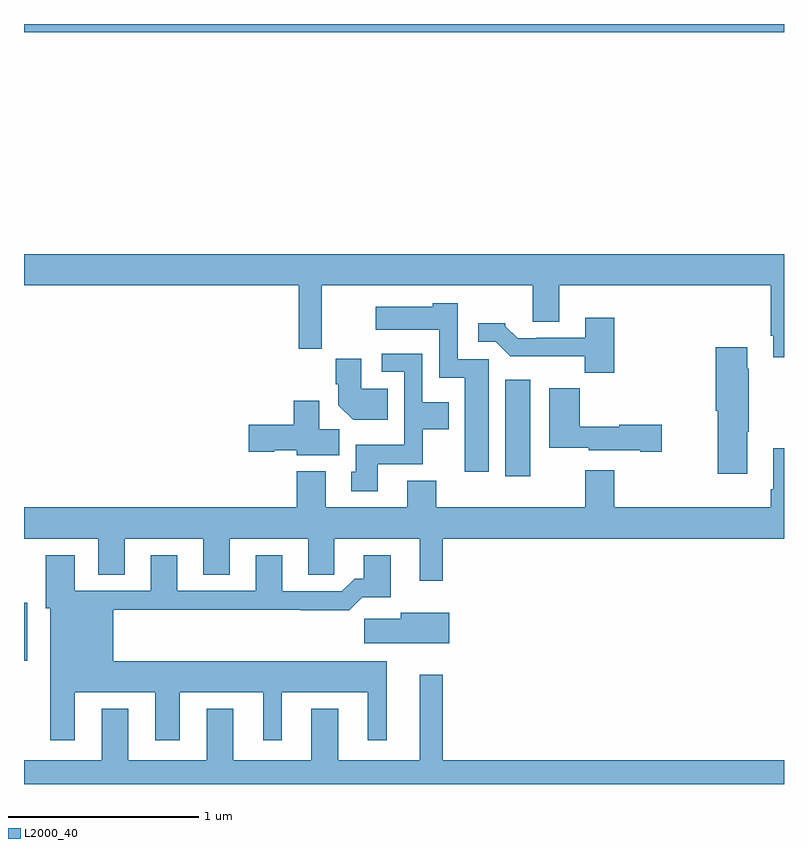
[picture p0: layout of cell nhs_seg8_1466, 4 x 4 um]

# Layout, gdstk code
import gdstk
lib = gdstk.Library(unit=1e-6, precision=1e-09)
def R(c, l, rs):  # rectangles x0, y0, x1, y1
    for r in rs: c.add(gdstk.rectangle(r[:2], r[2:], *l))
def P(c, l, *ps):  # polygons
    for p in ps: c.add(gdstk.Polygon(p, *l))
L2000_40 = (2000, 40)

nhs_seg8_1466 = lib.new_cell('nhs_seg8_1466')
R(nhs_seg8_1466, L2000_40, [(205,1090.55,205.018,1090.855), (207.533,1091.52,207.664,1092.028), (205,1093.856,209,1093.9)])
P(nhs_seg8_1466, L2000_40, [(209,1092.688),(205,1092.688),(205,1092.524),(206.446,1092.524),(206.446,1092.192),(206.567,1092.192),(206.567,1092.524),(207.677,1092.524),(207.677,1092.334),(207.817,1092.334),(207.817,1092.524),(208.931,1092.524),(208.931,1092.259),(208.943,1092.259),(208.943,1092.147),(209,1092.147)],
  [(207.445,1092.135),(207.282,1092.135),(207.282,1092.43),(207.15,1092.43),(207.15,1092.412),(206.85,1092.412),(206.85,1092.29),(207.186,1092.29),(207.186,1092.038),(207.32,1092.038),(207.32,1091.544),(207.445,1091.544)],
  [(208.106,1092.355),(207.953,1092.355),(207.953,1092.249),(207.697,1092.249),(207.697,1092.246),(207.598,1092.246),(207.534,1092.31),(207.534,1092.325),(207.39,1092.325),(207.39,1092.228),(207.483,1092.228),(207.559,1092.152),(207.951,1092.152),(207.951,1092.065),(208.106,1092.065)],
  [(208.807,1091.755),(208.815,1091.755),(208.815,1092.086),(208.807,1092.086),(208.807,1092.199),(208.64,1092.199),(208.64,1091.865),(208.652,1091.865),(208.652,1091.532),(208.807,1091.532)],
  [(206.863,1091.582),(207.099,1091.582),(207.099,1091.768),(207.235,1091.768),(207.235,1091.908),(207.096,1091.908),(207.096,1092.165),(206.883,1092.165),(206.883,1092.069),(207,1092.069),(207,1091.686),(206.747,1091.686),(206.747,1091.544),(206.723,1091.544),(206.723,1091.442),(206.863,1091.442)],
  [(206.915,1091.98),(206.776,1091.98),(206.776,1092.139),(206.642,1092.139),(206.642,1092.004),(206.654,1092.004),(206.654,1091.894),(206.732,1091.816),(206.915,1091.816)],
  [(208.357,1091.792),(208.134,1091.792),(208.134,1091.779),(207.926,1091.779),(207.926,1091.983),(207.764,1091.983),(207.764,1091.669),(207.972,1091.669),(207.972,1091.657),(208.244,1091.657),(208.244,1091.65),(208.357,1091.65)],
  [(206.659,1091.768),(206.554,1091.768),(206.554,1091.917),(206.42,1091.917),(206.42,1091.792),(206.184,1091.792),(206.184,1091.65),(206.316,1091.65),(206.316,1091.657),(206.436,1091.657),(206.436,1091.63),(206.659,1091.63)],
  [(207.205,1091.192),(209,1091.192),(209,1091.668),(208.943,1091.668),(208.943,1091.452),(208.931,1091.452),(208.931,1091.356),(208.106,1091.356),(208.106,1091.551),(207.953,1091.551),(207.953,1091.356),(207.17,1091.356),(207.17,1091.497),(207.017,1091.497),(207.017,1091.356),(206.587,1091.356),(206.587,1091.545),(206.435,1091.545),(206.435,1091.356),(205,1091.356),(205,1091.192),(205.391,1091.192),(205.391,1091.002),(205.531,1091.002),(205.531,1091.192),(205.943,1091.192),(205.943,1091.002),(206.083,1091.002),(206.083,1091.192),(206.495,1091.192),(206.495,1091.002),(206.634,1091.002),(206.634,1091.192),(207.083,1091.192),(207.083,1090.971),(207.205,1090.971)],
  [(205.267,1090.382),(205.691,1090.382),(205.691,1090.131),(205.819,1090.131),(205.819,1090.382),(206.258,1090.382),(206.258,1090.131),(206.356,1090.131),(206.356,1090.382),(206.81,1090.382),(206.81,1090.131),(206.908,1090.131),(206.908,1090.546),(205.471,1090.546),(205.471,1090.816),(206.455,1090.816),(206.455,1090.814),(206.711,1090.814),(206.78,1090.883),(206.929,1090.883),(206.929,1091.104),(206.789,1091.104),(206.789,1090.981),(206.74,1090.981),(206.673,1090.914),(206.359,1090.914),(206.359,1091.104),(206.219,1091.104),(206.219,1090.917),(205.807,1090.917),(205.807,1091.104),(205.667,1091.104),(205.667,1090.917),(205.267,1090.917),(205.267,1091.104),(205.115,1091.104),(205.115,1090.824),(205.139,1090.824),(205.139,1090.131),(205.267,1090.131)],
  [(207.238,1090.801),(206.984,1090.801),(206.984,1090.769),(206.79,1090.769),(206.79,1090.64),(207.238,1090.64)],
  [(209,1090.024),(207.205,1090.024),(207.205,1090.474),(207.083,1090.474),(207.083,1090.024),(206.653,1090.024),(206.653,1090.297),(206.513,1090.297),(206.513,1090.024),(206.101,1090.024),(206.101,1090.297),(205.961,1090.297),(205.961,1090.024),(205.549,1090.024),(205.549,1090.297),(205.409,1090.297),(205.409,1090.024),(205,1090.024),(205,1089.9),(209,1089.9)])

lib.write_gds('nhs_seg8_1466.gds')
